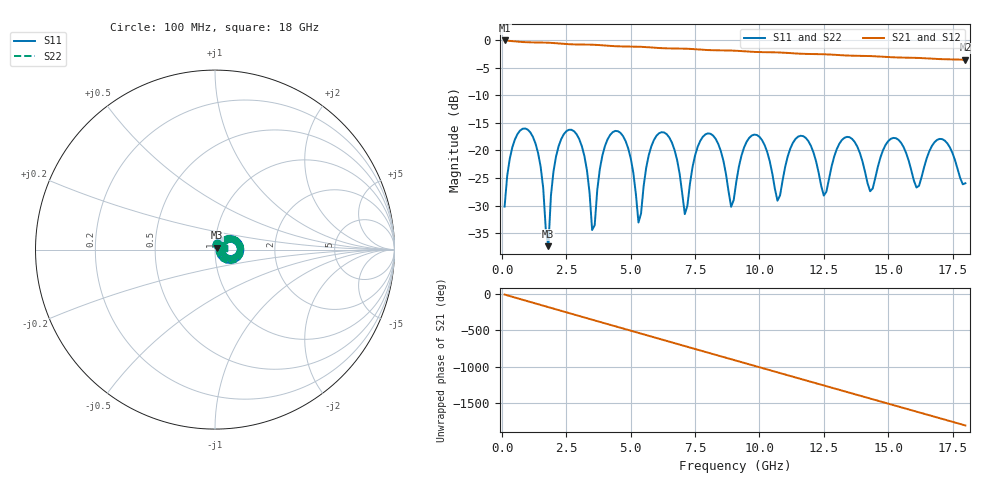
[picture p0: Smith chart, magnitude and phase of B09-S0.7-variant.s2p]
! yapnr rf coupon B: B09 S0.7 (variant, family S0.7)
! stackup JLC06161H-7628, nominal parameters; reference planes 10 mm from each end; 50 ohm (renormalized from the line's Zc)
! model: 2D quasi-static RLGC (Djordjevic-Sarkar, Huray roughness, Wheeler loss); generated by python -m yapnr.rf.coupons expected
# GHz S DB R 50
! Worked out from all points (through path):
!   180 points, 100 MHz to 18 GHz, reference 50 ohm
!   highest |S21| = -0.07 dB at 100 MHz (marker M1); lowest = -3.6 dB at 18 GHz (marker M2)
!   group delay of S21, straight-line fit = 278 ps
!   lowest |S11| = -37.4 dB at 1.8 GHz (marker M3), VSWR 1.03, Z = 50.9 + j1.02 ohm
!   |S11| at or under -10 dB: start of sweep to end of sweep
!   |S22| runs from -37.4 to -16.0 dB; largest |S21 - S12| = 0
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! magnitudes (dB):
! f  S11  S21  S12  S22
! 100 MHz  -30.2  -0.1  -0.1  -30.2
! 1 GHz  -16.2  -0.4  -0.4  -16.2
! 1.5 GHz  -23.0  -0.4  -0.4  -23.0
! 1.8 GHz  -37.4  -0.5  -0.5  -37.4
! 2.2 GHz  -19.2  -0.6  -0.6  -19.2
! 3.1 GHz  -19.2  -0.8  -0.8  -19.2
! 3.5 GHz  -34.4  -0.8  -0.8  -34.4
! 4.4 GHz  -16.5  -1.1  -1.1  -16.5
! 5.3 GHz  -33.1  -1.2  -1.2  -33.1
! 6.1 GHz  -16.9  -1.4  -1.4  -16.9
! 7.1 GHz  -31.6  -1.6  -1.6  -31.6
! 7.9 GHz  -17.1  -1.8  -1.8  -17.1
! 9.1 GHz  -25.7  -1.9  -1.9  -25.7
! 9.7 GHz  -17.3  -2.1  -2.1  -17.3
! 10.7 GHz  -29.1  -2.2  -2.2  -29.1
! 11.4 GHz  -17.9  -2.4  -2.4  -17.9
! 12.1 GHz  -20.4  -2.5  -2.5  -20.4
! 12.5 GHz  -28.2  -2.6  -2.6  -28.2
! 13.6 GHz  -17.9  -2.8  -2.8  -17.9
! 14.3 GHz  -27.4  -2.9  -2.9  -27.4
! 15.1 GHz  -17.9  -3.1  -3.1  -17.9
! 18 GHz  -26.0  -3.6  -3.6  -26.0
